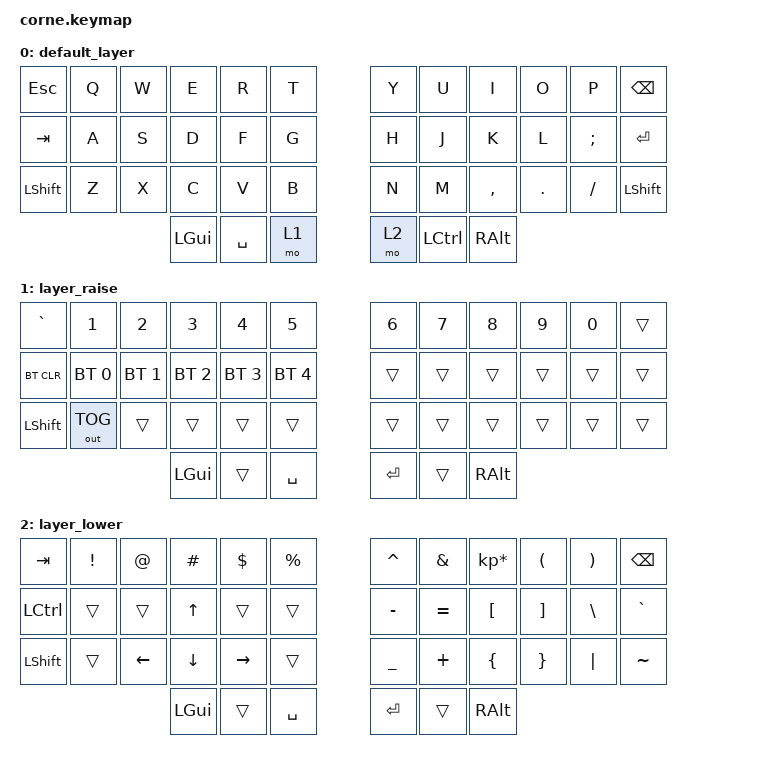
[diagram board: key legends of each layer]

/*
 * Copyright (c) 2020 The ZMK Contributors
 *
 * SPDX-License-Identifier: MIT
 */


/* THIS FILE WAS GENERATED!
 *
 * This file was generated automatically. You may or may not want to
 * edit it directly.
 */

#include <behaviors.dtsi>
#include <dt-bindings/zmk/keys.h>
#include <dt-bindings/zmk/bt.h>
#include <dt-bindings/zmk/outputs.h>

/ {
    keymap {
        compatible = "zmk,keymap";


        default_layer {
            bindings = <
   &kp ESC   &kp Q   &kp W     &kp E      &kp R   &kp T               &kp Y      &kp U      &kp I    &kp O     &kp P   &kp BSPC
   &kp TAB   &kp A   &kp S     &kp D      &kp F   &kp G               &kp H      &kp J      &kp K    &kp L  &kp SEMI    &kp RET
 &kp LSHFT   &kp Z   &kp X     &kp C      &kp V   &kp B               &kp N      &kp M  &kp COMMA  &kp DOT  &kp FSLH  &kp LSHFT
                            &kp LGUI  &kp SPACE   &mo 1               &mo 2  &kp LCTRL   &kp RALT
            >;
        };

        layer_raise {
            bindings = <
  &kp GRAVE        &kp N1        &kp N2        &kp N3        &kp N4        &kp N5               &kp N6  &kp N7    &kp N8  &kp N9  &kp N0  &trans
 &bt BT_CLR  &bt BT_SEL 0  &bt BT_SEL 1  &bt BT_SEL 2  &bt BT_SEL 3  &bt BT_SEL 4               &trans  &trans    &trans  &trans  &trans  &trans
  &kp LSHFT  &out OUT_TOG        &trans        &trans        &trans        &trans               &trans  &trans    &trans  &trans  &trans  &trans
                                             &kp LGUI        &trans     &kp SPACE              &kp RET  &trans  &kp RALT
            >;
        };

        layer_lower {
            bindings = <
   &kp TAB  &kp EXCL    &kp AT      &kp HASH   &kp DLLR  &kp PRCNT              &kp CARET   &kp AMPS  &kp KP_MULTIPLY  &kp LPAR  &kp RPAR   &kp BSPC
 &kp LCTRL    &trans    &trans  &kp UP_ARROW     &trans     &trans              &kp MINUS  &kp EQUAL         &kp LBKT  &kp RBKT  &kp BSLH  &kp GRAVE
 &kp LSHFT    &trans  &kp LEFT      &kp DOWN  &kp RIGHT     &trans              &kp UNDER   &kp PLUS         &kp LBRC  &kp RBRC  &kp PIPE  &kp TILDE
                                    &kp LGUI     &trans  &kp SPACE                &kp RET     &trans         &kp RALT
            >;
        };

    };
};
